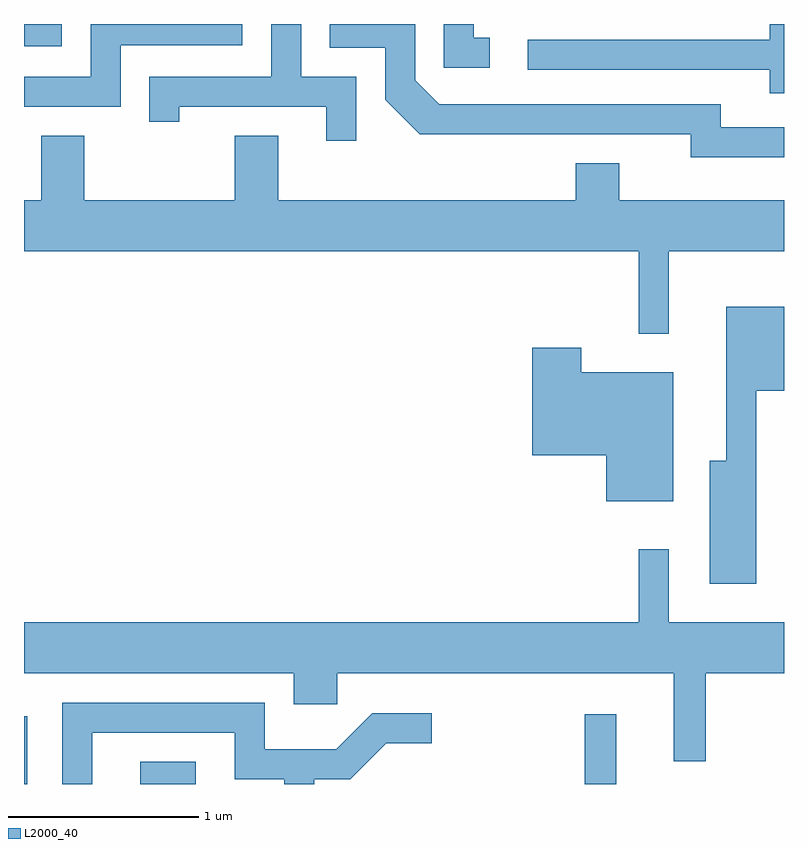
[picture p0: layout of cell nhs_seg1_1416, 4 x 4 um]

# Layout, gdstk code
import gdstk
lib = gdstk.Library(unit=1e-6, precision=1e-09)
def R(c, l, rs):  # rectangles x0, y0, x1, y1
    for r in rs: c.add(gdstk.rectangle(r[:2], r[2:], *l))
def P(c, l, *ps):  # polygons
    for p in ps: c.add(gdstk.Polygon(p, *l))
L2000_40 = (2000, 40)

nhs_seg1_1416 = lib.new_cell('nhs_seg1_1416')
R(nhs_seg1_1416, L2000_40, [(229.611,845.712,229.629,846.069), (230.223,845.712,230.514,845.829), (232.561,845.712,232.729,846.078), (229.611,849.596,229.809,849.712)])
P(nhs_seg1_1416, L2000_40, [(233.611,849.712),(233.536,849.712),(233.536,849.629),(232.263,849.629),(232.263,849.471),(233.536,849.471),(233.536,849.348),(233.611,849.348)],
  [(233.611,849.169),(233.279,849.169),(233.279,849.289),(231.797,849.289),(231.669,849.417),(231.669,849.712),(231.221,849.712),(231.221,849.586),(231.511,849.586),(231.511,849.314),(231.694,849.131),(233.121,849.131),(233.121,849.011),(233.611,849.011)],
  [(231.359,849.434),(231.069,849.434),(231.069,849.712),(230.911,849.712),(230.911,849.434),(230.271,849.434),(230.271,849.198),(230.429,849.198),(230.429,849.276),(231.201,849.276),(231.201,849.098),(231.359,849.098)],
  [(232.063,849.639),(231.979,849.639),(231.979,849.712),(231.821,849.712),(231.821,849.481),(232.063,849.481)],
  [(230.119,849.601),(230.759,849.601),(230.759,849.712),(229.961,849.712),(229.961,849.434),(229.611,849.434),(229.611,849.276),(230.119,849.276)],
  [(233.004,848.516),(233.611,848.516),(233.611,848.784),(232.744,848.784),(232.744,848.979),(232.516,848.979),(232.516,848.784),(230.949,848.784),(230.949,849.124),(230.721,849.124),(230.721,848.784),(229.929,848.784),(229.929,849.124),(229.701,849.124),(229.701,848.784),(229.611,848.784),(229.611,848.516),(232.846,848.516),(232.846,848.083),(233.004,848.083)],
  [(233.464,847.781),(233.611,847.781),(233.611,848.224),(233.306,848.224),(233.306,847.414),(233.221,847.414),(233.221,846.766),(233.464,846.766)],
  [(233.029,847.879),(232.544,847.879),(232.544,848.009),(232.286,848.009),(232.286,847.441),(232.676,847.441),(232.676,847.201),(233.029,847.201)],
  [(233.199,846.296),(233.611,846.296),(233.611,846.564),(233.004,846.564),(233.004,846.948),(232.846,846.948),(232.846,846.564),(229.611,846.564),(229.611,846.296),(231.031,846.296),(231.031,846.131),(231.259,846.131),(231.259,846.296),(233.031,846.296),(233.031,845.833),(233.199,845.833)],
  [(229.969,845.981),(230.721,845.981),(230.721,845.736),(230.981,845.736),(230.981,845.712),(231.139,845.712),(231.139,845.736),(231.327,845.736),(231.517,845.926),(231.758,845.926),(231.758,846.084),(231.444,846.084),(231.254,845.894),(230.879,845.894),(230.879,846.139),(229.811,846.139),(229.811,845.712),(229.969,845.712)])

lib.write_gds('nhs_seg1_1416.gds')
